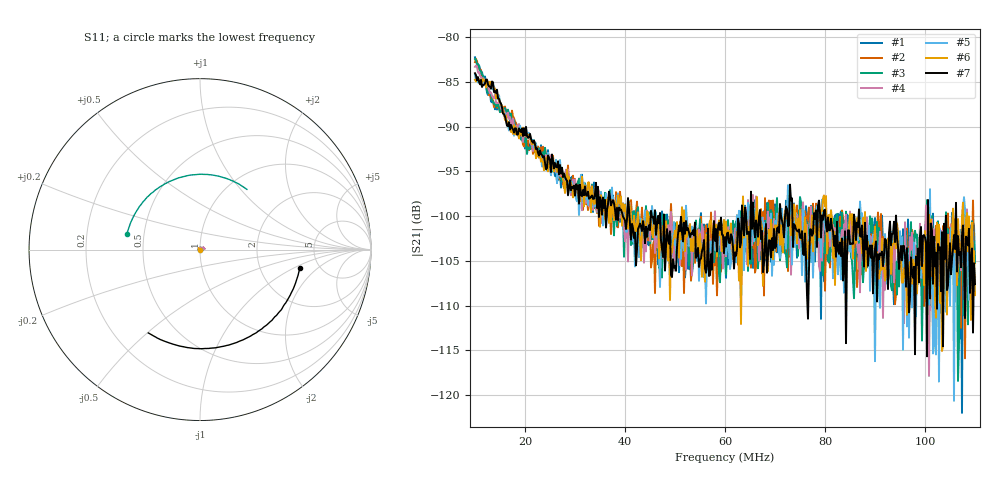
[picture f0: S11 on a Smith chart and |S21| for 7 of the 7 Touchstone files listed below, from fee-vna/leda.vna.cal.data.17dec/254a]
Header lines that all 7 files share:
! Anritsu VNA Master:  Model: MS2036C/10/77
! SN:  1601066
! Existing Calibration Information:
! TYPE:  Current Settings,  Active Cal Settings
! # POINTS:  501,  501
! START FREQ:  10.000 MHz,  10.000 MHz
! STOP FREQ:  110.000 MHz,  110.000 MHz
! SOURCE POWER:  High,  High
! IFBW:  100 Hz,  100 Hz
! AVG FACTOR:  1 ,  1
! REF PLANE 1:  0 mm,  0 mm
! REF PLANE 2:  0 mm,  0 mm
! CAL TYPE:  Full S11,  Full S11
! CAL METHOD:  SOLT,  SOLT
! CAL LINE TYPE:  Coax,  Coax
! DUT PORT 1:  N-Conn(F),  N-Conn(F)
! DUT PORT 2:  K-Conn(F),  K-Conn(F)
! CAL STATUS:  OK: Accuracy High,  --
# GHZ S DB R 50.0
! FREQ.GHZ  S11DB  S11A  S21DB  S21A  S12DB  S12A  S22DB  S22A
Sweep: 10 MHz to 110 MHz
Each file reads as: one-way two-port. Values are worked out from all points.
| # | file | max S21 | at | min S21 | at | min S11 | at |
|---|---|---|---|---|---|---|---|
| 1 | 254.ew.sma.r20.11.s2p | -82.23 dB | 10 MHz | -122.0 dB | 107.4 MHz | -61.3 dB | 10.2 MHz |
| 2 | 254.ew.sma.r20.12.s2p | -82.42 dB | 10.2 MHz | -115.9 dB | 108 MHz | -61.3 dB | 10.2 MHz |
| 3 | 254.ew.sma.r20.21.s2p | -82.42 dB | 10 MHz | -118.4 dB | 106.6 MHz | -7.3 dB | 27 MHz |
| 4 | 254.ew.sma.r50.22.s2p | -83.15 dB | 10.2 MHz | -117.9 dB | 100.8 MHz | -45.1 dB | 10 MHz |
| 5 | 254.ew.sma.r200.11.s2p | -84.19 dB | 10 MHz | -120.6 dB | 105.8 MHz | -48.2 dB | 10.2 MHz |
| 6 | 254.ew.sma.r200.12.s2p | -84.61 dB | 10.4 MHz | -115.1 dB | 103.4 MHz | -48.2 dB | 10.2 MHz |
| 7 | 254.ew.sma.r200.21.s2p | -84.01 dB | 10 MHz | -115.7 dB | 100.4 MHz | -4.8 dB | 108.2 MHz |
